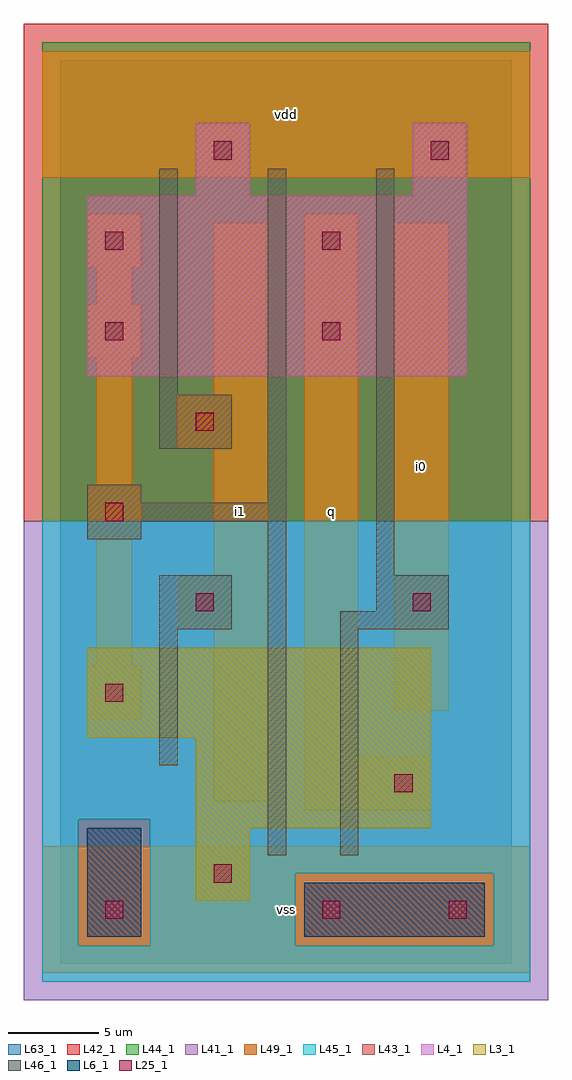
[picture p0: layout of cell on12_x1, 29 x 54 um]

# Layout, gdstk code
import gdstk
lib = gdstk.Library(unit=1e-6, precision=1e-09)
def R(c, l, rs):  # rectangles x0, y0, x1, y1
    for r in rs: c.add(gdstk.rectangle(r[:2], r[2:], *l))
def A(c, l, x, y, w, h, nx, ny, dx, dy):  # array of equal rectangles
    R(c, l, [(x+i*dx, y+j*dy, x+i*dx+w, y+j*dy+h) for i in range(nx) for j in range(ny)])
L3_1 = (3, 1)
L4_1 = (4, 1)
L6_1 = (6, 1)
L25_1 = (25, 1)
L41_1 = (41, 1)
L42_1 = (42, 1)
L43_1 = (43, 1)
L44_1 = (44, 1)
L45_1 = (45, 1)
L46_1 = (46, 1)
L49_1 = (49, 1)
L63_1 = (63, 1)

on12_x1 = lib.new_cell('on12_x1')
R(on12_x1, L3_1, [(7.5,3.5,10.5,7.5), (7.5,7.5,20.5,12.5), (1.5,12.5,20.5,17.5)])
R(on12_x1, L4_1, [(1.5,32.5,22.5,42.5), (7.5,42.5,10.5,46.5), (19.5,42.5,22.5,46.5)])
R(on12_x1, L6_1, [(1.5,1.5,4.5,7.5), (13.5,1.5,23.5,4.5)])
A(on12_x1, L25_1, 2.5, 14.5, 1, 1, 1, 3, 0, 10)
R(on12_x1, L25_1, [(2.5,2.5,3.5,3.5), (14.5,2.5,15.5,3.5), (21.5,2.5,22.5,3.5), (8.5,4.5,9.5,5.5), (18.5,9.5,19.5,10.5), (7.5,19.5,8.5,20.5), (19.5,19.5,20.5,20.5), (7.5,29.5,8.5,30.5), (14.5,34.5,15.5,35.5), (2.5,39.5,3.5,40.5), (14.5,39.5,15.5,40.5), (8.5,44.5,9.5,45.5), (20.5,44.5,21.5,45.5)])
R(on12_x1, L41_1, [(-2,-2,27,24.5)])
R(on12_x1, L42_1, [(-2,24.5,27,52)])
R(on12_x1, L43_1, [(1.5,1.5,4.5,7.5), (13.5,1.5,23.5,4.5), (7.5,3.5,10.5,7.5), (7.5,7.5,20.5,12.5), (1.5,12.5,20.5,17.5), (1.5,32.5,22.5,42.5), (7.5,42.5,10.5,46.5), (19.5,42.5,22.5,46.5)])
R(on12_x1, L44_1, [(1,1,5,8), (13,1,24,5), (-1,24.5,26,51)])
R(on12_x1, L45_1, [(-1,-1,26,1), (-1,1,1,8), (5,1,13,5), (24,1,26,5), (5,5,26,8), (-1,8,26,24.5)])
R(on12_x1, L46_1, [(11.5,6,12.5,24.5), (15.5,6,16.5,18.5), (5.5,11,6.5,18.5), (5.5,18.5,9.5,21.5), (15.5,18.5,21.5,19.5), (17.5,19.5,21.5,21.5), (17.5,21.5,18.5,44), (1.5,23.5,4.5,24.5), (1.5,24.5,12.5,25.5), (1.5,25.5,4.5,26.5), (11.5,25.5,12.5,44), (5.5,28.5,9.5,31.5), (5.5,31.5,6.5,44)])
A(on12_x1, L49_1, 1.5, 13.5, 3, 3, 1, 3, 0, 10)
R(on12_x1, L49_1, [(-1,-0.5,26,6.5), (13.5,8.5,20.5,11.5), (8.5,9,11.5,18.5), (13.5,11.5,16.5,41.5), (18.5,14,21.5,41), (2,16.5,4,23.5), (6.5,18.5,11.5,21.5), (8.5,21.5,11.5,28.5), (2,26.5,4,33.5), (6.5,28.5,11.5,31.5), (8.5,31.5,11.5,41), (2,36.5,4,38.5), (1.5,38.5,4.5,41.5), (-1,43.5,26,50.5)])
R(on12_x1, L63_1, [(0,0,25,50)])
on12_x1.add(gdstk.Label('i1', (10,25), layer=49, texttype=1))
on12_x1.add(gdstk.Label('i1', (10,25), layer=49, texttype=1))
on12_x1.add(gdstk.Label('vss', (12.5,3), layer=49, texttype=1))
on12_x1.add(gdstk.Label('vss', (12.5,3), layer=49, texttype=1))
on12_x1.add(gdstk.Label('q', (15,25), layer=49, texttype=1))
on12_x1.add(gdstk.Label('q', (15,25), layer=49, texttype=1))
on12_x1.add(gdstk.Label('vdd', (12.5,47), layer=49, texttype=1))
on12_x1.add(gdstk.Label('vdd', (12.5,47), layer=49, texttype=1))
on12_x1.add(gdstk.Label('i0', (20,27.5), layer=49, texttype=1))
on12_x1.add(gdstk.Label('i0', (20,27.5), layer=49, texttype=1))

lib.write_gds('on12_x1.gds')
